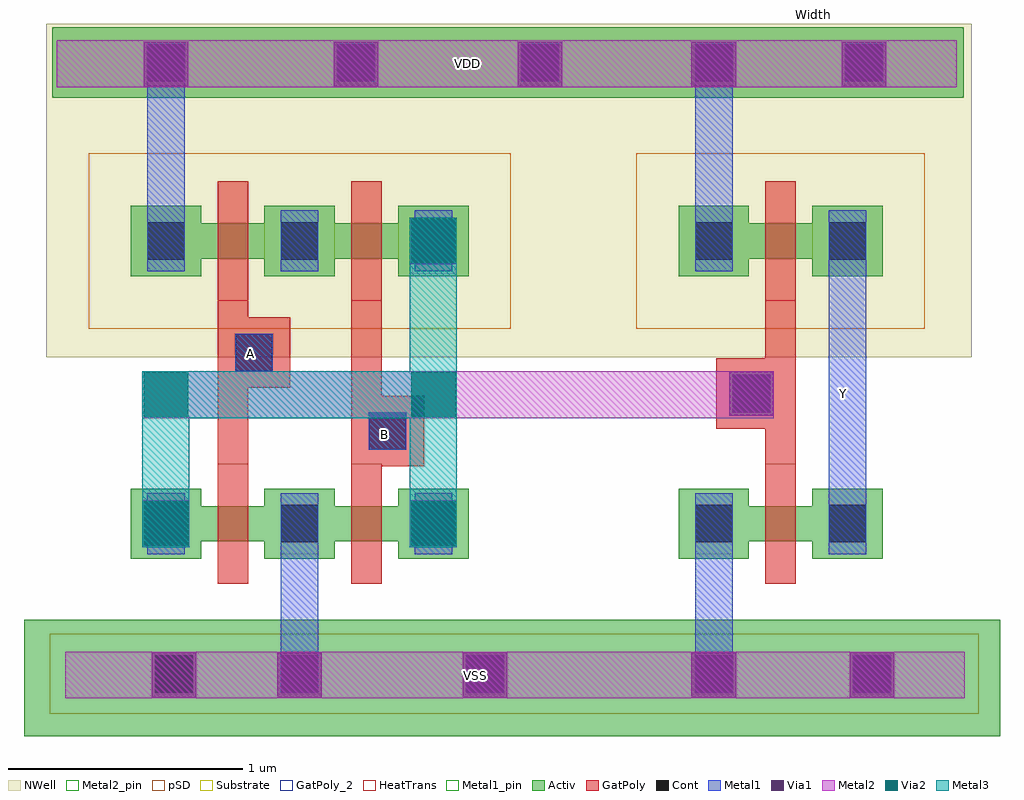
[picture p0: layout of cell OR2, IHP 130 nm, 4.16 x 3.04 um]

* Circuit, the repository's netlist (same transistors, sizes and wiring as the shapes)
** sch_path: /home/tundzi-lp1710/LAYOUT_ANALOG_FALL_DTVT/Bai_Tap_Buoi_2/OR_GATE/Layout/OR2.sch
.subckt OR2 A B Y VDD VSS
*.PININFO A:I B:I Y:O VDD:B VSS:B
MM1 net2 A VSS VSS sg13_lv_nmos w=0.15u l=0.13u ng=1
MM2 net1 A VDD VDD sg13_lv_pmos w=0.15u l=0.13u ng=1
MM3 net2 B net1 VDD sg13_lv_pmos w=0.15u l=0.13u ng=1
MM4 net2 B VSS VSS sg13_lv_nmos w=0.15u l=0.13u ng=1
MM5 Y net2 VDD VDD sg13_lv_pmos w=0.15u l=0.13u ng=1
MM6 Y net2 VSS VSS sg13_lv_nmos w=0.15u l=0.13u ng=1
.ends

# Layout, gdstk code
import gdstk
lib = gdstk.Library(unit=1e-6, precision=5e-09)
def R(c, l, rs):  # rectangles x0, y0, x1, y1
    for r in rs: c.add(gdstk.rectangle(r[:2], r[2:], *l))
Activ = (1, 0)
GatPoly = (5, 0)
GatPoly_2 = (5, 2)
Cont = (6, 0)
Metal1 = (8, 0)
Metal1_pin = (8, 2)
Metal2 = (10, 0)
Metal2_pin = (10, 2)
pSD = (14, 0)
Via1 = (19, 0)
Via2 = (29, 0)
Metal3 = (30, 0)
NWell = (31, 0)
Substrate = (40, 0)
HeatTrans = (51, 0)

pmos = lib.new_cell('pmos')
R(pmos, Activ, [(0,0,0.3,0.3), (0.57,0,0.87,0.3), (0,0.075,0.87,0.225)])
R(pmos, GatPoly, [(0.37,-0.105,0.5,0.405), (0.37,-0.105,0.5,0.405)])
R(pmos, Cont, [(0.07,0.07,0.23,0.23), (0.64,0.07,0.8,0.23)])
R(pmos, Metal1, [(0.07,0.02,0.23,0.28), (0.07,0.02,0.23,0.28), (0.64,0.02,0.8,0.28), (0.64,0.02,0.8,0.28)])
R(pmos, pSD, [(-0.18,-0.225,1.05,0.525)])
R(pmos, NWell, [(-0.31,-0.31,1.18,0.61)])
R(pmos, Substrate, [(0.57,0,0.87,0.3)])
R(pmos, HeatTrans, [(0.37,-0.105,0.5,0.405)])
pmos.add(gdstk.Label('pmos', (0.435,0.15), layer=63, texttype=0))
pmos.add(gdstk.Label('pmos', (0.435,0.15), layer=51, texttype=0))

nmos = lib.new_cell('nmos')
R(nmos, Activ, [(0,0,0.3,0.3), (0.57,0,0.87,0.3), (0,0.075,0.87,0.225)])
R(nmos, GatPoly, [(0.37,-0.105,0.5,0.405)])
R(nmos, GatPoly_2, [(0.37,-0.105,0.5,0.405)])
R(nmos, Cont, [(0.07,0.07,0.23,0.23), (0.64,0.07,0.8,0.23)])
R(nmos, Metal1, [(0.07,0.02,0.23,0.28), (0.64,0.02,0.8,0.28)])
R(nmos, Metal1_pin, [(0.07,0.02,0.23,0.28), (0.64,0.02,0.8,0.28)])
R(nmos, HeatTrans, [(0.37,-0.105,0.5,0.405)])
nmos.add(gdstk.Label('nmos', (0.435,0.15), layer=63, texttype=0))
nmos.add(gdstk.Label('nmos', (0.435,0.15), layer=51, texttype=0))

or2 = lib.new_cell('OR2')
R(or2, Activ, [(-1.405,-1.75,2.755,-1.255), (-1.285,0.97,2.6,1.27)])
R(or2, GatPoly, [(1.755,-0.61,1.885,0.13), (-0.58,-0.605,-0.45,0.115), (-0.01,-0.605,0.12,0.115), (0.04,-0.6,0.3,-0.3), (1.545,-0.44,1.805,-0.14), (-0.53,-0.265,-0.27,0.035)])
R(or2, Cont, [(-0.845,-1.565,-0.685,-1.405), (-0.31,-1.565,-0.15,-1.405), (0.48,-1.565,0.64,-1.405), (1.455,-1.565,1.615,-1.405), (2.13,-1.565,2.29,-1.405), (0.065,-0.53,0.225,-0.37), (1.615,-0.37,1.775,-0.21), (-0.505,-0.195,-0.345,-0.035), (-0.88,1.04,-0.72,1.2), (-0.07,1.04,0.09,1.2), (0.715,1.04,0.875,1.2), (1.455,1.04,1.615,1.2), (2.095,1.04,2.255,1.2)])
R(or2, Metal1, [(-0.31,-1.565,-0.15,-1.405), (-0.31,-1.565,-0.15,-0.765), (0.48,-1.565,0.64,-1.405), (1.455,-1.565,1.615,-1.405), (1.455,-1.565,1.615,-0.765), (2.13,-1.565,2.29,-1.405), (2.025,-0.925,2.185,0.44), (0.065,-0.53,0.225,-0.37), (1.615,-0.37,1.775,-0.21), (-0.505,-0.195,-0.345,-0.035), (-0.88,0.28,-0.72,1.2), (1.455,0.28,1.615,1.2), (-0.07,1.04,0.09,1.2), (0.715,1.04,0.875,1.2), (1.455,1.04,1.615,1.2), (2.095,1.04,2.255,1.2)])
R(or2, Metal1_pin, [(2.025,-0.925,2.185,0.44), (0.065,-0.53,0.225,-0.37), (1.615,-0.37,1.775,-0.21), (-0.505,-0.195,-0.345,-0.035)])
R(or2, Metal2, [(-1.23,-1.59,2.605,-1.39), (-0.9,-0.945,-0.7,-0.745), (0.24,-0.945,0.44,-0.745), (-0.9,-0.395,-0.7,-0.195), (-0.9,-0.395,0.44,-0.195), (0.24,-0.395,1.79,-0.195), (0.24,0.26,0.44,0.46), (-1.265,1.015,2.57,1.215)])
R(or2, Metal2_pin, [(-1.23,-1.59,2.605,-1.39), (-1.265,1.015,2.57,1.215)])
R(or2, pSD, [(-1.295,-1.655,2.665,-1.315)])
R(or2, Via1, [(-0.86,-1.585,-0.67,-1.395), (-0.325,-1.585,-0.135,-1.395), (0.465,-1.585,0.655,-1.395), (1.44,-1.585,1.63,-1.395), (2.115,-1.585,2.305,-1.395), (-0.895,-0.94,-0.705,-0.75), (0.245,-0.94,0.435,-0.75), (1.6,-0.385,1.79,-0.195), (0.245,0.265,0.435,0.455), (-0.895,1.02,-0.705,1.21), (-0.085,1.02,0.105,1.21), (0.7,1.02,0.89,1.21), (1.44,1.02,1.63,1.21), (2.08,1.02,2.27,1.21)])
R(or2, Via2, [(-0.895,-0.94,-0.705,-0.75), (0.245,-0.94,0.435,-0.75), (-0.895,-0.39,-0.705,-0.2), (0.245,-0.39,0.435,-0.2), (0.245,0.265,0.435,0.455)])
R(or2, Metal3, [(-0.9,-0.945,-0.7,-0.745), (-0.9,-0.945,-0.7,-0.195), (0.24,-0.945,0.44,-0.745), (0.24,-0.945,0.44,0.46), (-0.9,-0.395,0.44,-0.195), (0.24,0.26,0.44,0.46)])
R(or2, NWell, [(-1.31,-0.135,2.635,1.285)])
or2.add(gdstk.Reference(pmos, (-0.95,0.21)))
or2.add(gdstk.Reference(pmos, (-0.38,0.21)))
or2.add(gdstk.Reference(pmos, (1.385,0.21)))
or2.add(gdstk.Reference(nmos, (-0.95,-0.995)))
or2.add(gdstk.Reference(nmos, (-0.38,-0.995)))
or2.add(gdstk.Reference(nmos, (1.385,-0.995)))
or2.add(gdstk.Label('Width', (1.96,1.325), layer=63, texttype=0))
or2.add(gdstk.Label('Height', (-1.545,-1.155), layer=63, texttype=0))
or2.add(gdstk.Label('A', (-0.44,-0.12), layer=8, texttype=25))
or2.add(gdstk.Label('B', (0.13,-0.465), layer=8, texttype=25))
or2.add(gdstk.Label('Y', (2.09,-0.29), layer=8, texttype=25))
or2.add(gdstk.Label('VDD', (0.485,1.115), layer=10, texttype=25))
or2.add(gdstk.Label('VSS', (0.52,-1.49), layer=10, texttype=25))

lib.write_gds('OR2.gds')
